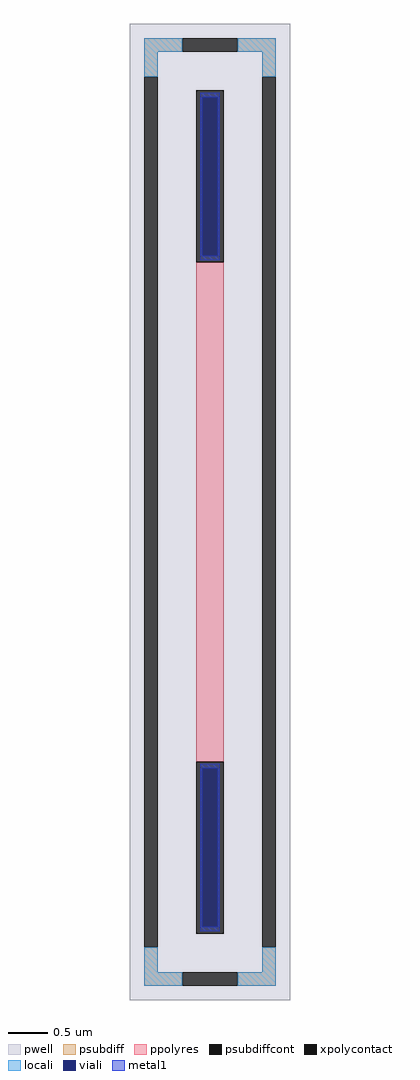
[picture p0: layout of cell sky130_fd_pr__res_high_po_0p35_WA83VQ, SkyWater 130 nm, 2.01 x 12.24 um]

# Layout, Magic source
magic
tech sky130B
magscale 1 2
<< pwell >>
rect -201 -1224 201 1224
<< psubdiff >>
rect -165 1154 -69 1188
rect 69 1154 165 1188
rect -165 1092 -131 1154
rect 131 1092 165 1154
rect -165 -1154 -131 -1092
rect 131 -1154 165 -1092
rect -165 -1188 -69 -1154
rect 69 -1188 165 -1154
<< psubdiffcont >>
rect -69 1154 69 1188
rect -165 -1092 -131 1092
rect 131 -1092 165 1092
rect -69 -1188 69 -1154
<< xpolycontact >>
rect -35 626 35 1058
rect -35 -1058 35 -626
<< ppolyres >>
rect -35 -626 35 626
<< locali >>
rect -165 1154 -69 1188
rect 69 1154 165 1188
rect -165 1092 -131 1154
rect 131 1092 165 1154
rect -165 -1154 -131 -1092
rect 131 -1154 165 -1092
rect -165 -1188 -69 -1154
rect 69 -1188 165 -1154
<< viali >>
rect -19 643 19 1040
rect -19 -1040 19 -643
<< metal1 >>
rect -25 1040 25 1052
rect -25 643 -19 1040
rect 19 643 25 1040
rect -25 631 25 643
rect -25 -643 25 -631
rect -25 -1040 -19 -643
rect 19 -1040 25 -643
rect -25 -1052 25 -1040
<< properties >>
string FIXED_BBOX -148 -1171 148 1171
string gencell sky130_fd_pr__res_high_po_0p35
string library sky130
string parameters w 0.35 l 6.42 m 1 nx 1 wmin 0.350 lmin 0.50 rho 319.8 val 6.979k dummy 0 dw 0.0 term 194.82 sterm 0.0 caplen 0 guard 1 glc 1 grc 1 gtc 1 gbc 1 compatible {sky130_fd_pr__res_high_po_0p35  sky130_fd_pr__res_high_po_0p69 sky130_fd_pr__res_high_po_1p41  sky130_fd_pr__res_high_po_2p85 sky130_fd_pr__res_high_po_5p73} snake 0 full_metal 1 wmax 0.350 vias 1 n_guard 0 hv_guard 0 viagb 0 viagt 0 viagl 0 viagr 0
<< end >>
